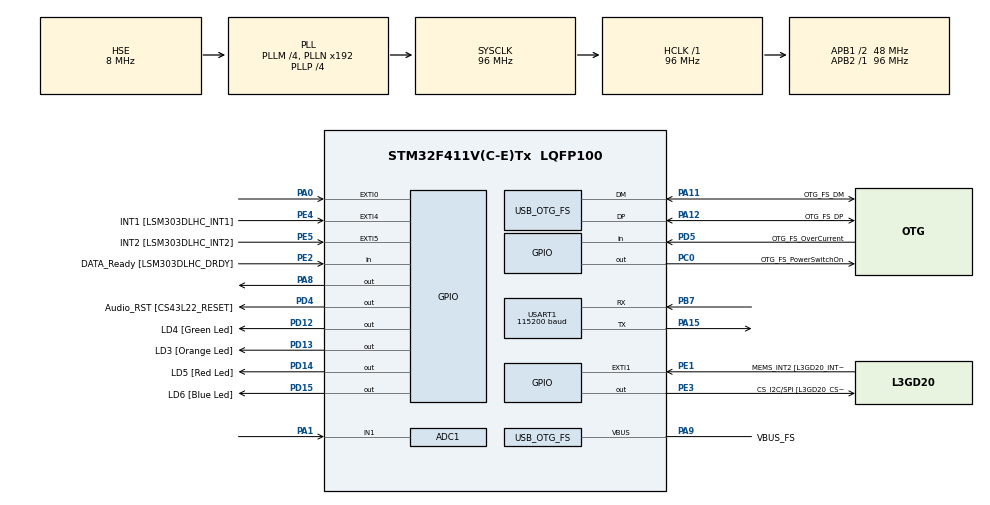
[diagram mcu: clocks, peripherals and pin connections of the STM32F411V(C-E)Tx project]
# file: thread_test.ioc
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ADC1.Channel-1\#ChannelRegularConversion=ADC_CHANNEL_1
ADC1.NbrOfConversionFlag=1
ADC1.Rank-1\#ChannelRegularConversion=1
ADC1.SamplingTime-1\#ChannelRegularConversion=ADC_SAMPLETIME_3CYCLES
ADC1.master=1
FREERTOS.INCLUDE_vTaskDelayUntil=1
FREERTOS.Tasks01=blink01,0,128,StartBlink01,Default,NULL,Dynamic,NULL,NULL;blink02,0,128,StartBlink02,Default,NULL,Dynamic,NULL,NULL
FREERTOS.configCHECK_FOR_STACK_OVERFLOW=2
Mcu.Family=STM32F4
Mcu.Name=STM32F411V(C-E)Tx
Mcu.Package=LQFP100
NVIC.OTG_FS_IRQn=true\:5\:0\:false\:false\:true\:true\:true\:true
NVIC.PriorityGroup=NVIC_PRIORITYGROUP_4
NVIC.TIM1_UP_TIM10_IRQn=true\:0\:0\:false\:false\:true\:false\:false\:true
NVIC.TimeBase=TIM1_UP_TIM10_IRQn
NVIC.TimeBaseIP=TIM10
PA0-WKUP.GPIO_ModeDefaultEXTI=GPIO_MODE_EVT_RISING
PA0-WKUP.Signal=GPXTI0
PA1.Signal=ADCx_IN1
PA10.GPIO_Label=OTG_FS_ID
PA10.Signal=USB_OTG_FS_ID
PA11.GPIO_Label=OTG_FS_DM
PA11.Mode=Host_Only
PA11.Signal=USB_OTG_FS_DM
PA12.GPIO_Label=OTG_FS_DP
PA12.Mode=Host_Only
PA12.Signal=USB_OTG_FS_DP
PA13.GPIO_Label=SWDIO
PA13.Mode=Trace_Asynchronous_SW
PA13.Signal=SYS_JTMS-SWDIO
PA14.GPIO_Label=SWCLK
PA14.Mode=Trace_Asynchronous_SW
PA14.Signal=SYS_JTCK-SWCLK
PA15.Mode=Asynchronous
PA15.Signal=USART1_TX
PA4.GPIO_Label=I2S3_WS [CS43L22_LRCK]
PA4.GPIO_Mode=GPIO_MODE_AF_PP
PA4.GPIO_PuPd=GPIO_NOPULL
PA4.GPIO_Speed=GPIO_SPEED_FREQ_LOW
PA4.Signal=I2S3_WS
PA5.GPIO_Label=SPI1_SCK [L3GD20_SC/SPC]
PA5.Signal=SPI1_SCK
PA6.GPIO_Label=SPI1_MISO [L3GD20_AS0/SDO]
PA6.Signal=SPI1_MISO
PA7.GPIO_Label=SPI1_MOSI [L3GD20_SDA/SDI/SDO]
PA7.Signal=SPI1_MOSI
PA8.Signal=GPIO_Output
PA9.GPIO_Label=VBUS_FS
PA9.Mode=Activate_VBUS
PA9.Signal=USB_OTG_FS_VBUS
PB10.GPIO_Label=CLK_IN [MP45DT02_CLK]
PB10.Signal=I2S2_CK
PB12.Signal=I2S2_WS
PB3.GPIO_Label=SWO
PB3.Mode=Trace_Asynchronous_SW
PB3.Signal=SYS_JTDO-SWO
PB6.GPIO_Label=Audio_SCL [CS43L22_SCL]
PB6.GPIO_Mode=GPIO_MODE_AF_OD
PB6.GPIO_PuPd=GPIO_NOPULL
PB6.GPIO_Speed=GPIO_SPEED_FREQ_LOW
PB6.Signal=I2C1_SCL
PB7.Mode=Asynchronous
PB7.Signal=USART1_RX
PB9.GPIO_Label=Audio_SDA [CS43L22_SDA]
PB9.GPIO_Mode=GPIO_MODE_AF_OD
PB9.GPIO_PuPd=GPIO_NOPULL
PB9.GPIO_Speed=GPIO_SPEED_FREQ_LOW
PB9.Signal=I2C1_SDA
PC0.GPIO_Label=OTG_FS_PowerSwitchOn
PC0.PinState=GPIO_PIN_SET
PC0.Signal=GPIO_Output
PC10.GPIO_Label=I2S3_SCK [CS43L22_SCLK]
PC10.GPIO_Mode=GPIO_MODE_AF_PP
PC10.GPIO_PuPd=GPIO_NOPULL
PC10.GPIO_Speed=GPIO_SPEED_FREQ_LOW
PC10.Signal=I2S3_CK
PC12.GPIO_Label=I2S3_SD [CS43L22_SDIN]
PC12.GPIO_Mode=GPIO_MODE_AF_PP
PC12.GPIO_PuPd=GPIO_NOPULL
PC12.GPIO_Speed=GPIO_SPEED_FREQ_LOW
PC12.Signal=I2S3_SD
PC14-OSC32_IN.GPIO_Label=PC14-OSC32_IN
PC14-OSC32_IN.Mode=LSE-External-Oscillator
PC14-OSC32_IN.Signal=RCC_OSC32_IN
PC15-OSC32_OUT.GPIO_Label=PC15-OSC32_OUT
PC15-OSC32_OUT.Mode=LSE-External-Oscillator
PC15-OSC32_OUT.Signal=RCC_OSC32_OUT
PC3.GPIO_Label=PDM_OUT [MP45DT02_DOUT]
PC3.Signal=I2S2_SD
PC7.GPIO_Label=I2S3_MCK [CS43L22_MCLK]
PC7.GPIO_Mode=GPIO_MODE_AF_PP
PC7.GPIO_PuPd=GPIO_NOPULL
PC7.GPIO_Speed=GPIO_SPEED_FREQ_LOW
PC7.Signal=I2S3_MCK
PD12.GPIO_Label=LD4 [Green Led]
PD12.GPIO_PuPd=GPIO_NOPULL
PD12.GPIO_Speed=GPIO_SPEED_FREQ_LOW
PD12.Signal=GPIO_Output
PD13.GPIO_Label=LD3 [Orange Led]
PD13.GPIO_PuPd=GPIO_NOPULL
PD13.GPIO_Speed=GPIO_SPEED_FREQ_LOW
PD13.Signal=GPIO_Output
PD14.GPIO_Label=LD5 [Red Led]
PD14.GPIO_PuPd=GPIO_NOPULL
PD14.GPIO_Speed=GPIO_SPEED_FREQ_LOW
PD14.Signal=GPIO_Output
PD15.GPIO_Label=LD6 [Blue Led]
PD15.GPIO_PuPd=GPIO_NOPULL
PD15.GPIO_Speed=GPIO_SPEED_FREQ_LOW
PD15.Signal=GPIO_Output
PD4.GPIO_Label=Audio_RST [CS43L22_RESET]
PD4.Signal=GPIO_Output
PD5.GPIO_Label=OTG_FS_OverCurrent
PD5.Signal=GPIO_Input
PE1.GPIO_Label=MEMS_INT2 [L3GD20_INT2]
PE1.GPIO_ModeDefaultEXTI=GPIO_MODE_EVT_RISING
PE1.Signal=GPXTI1
PE2.GPIO_Label=DATA_Ready [LSM303DLHC_DRDY]
PE2.Signal=GPIO_Input
PE3.GPIO_Label=CS_I2C/SPI [L3GD20_CS_I2C/SPI]
PE3.Signal=GPIO_Output
PE4.GPIO_Label=INT1 [LSM303DLHC_INT1]
PE4.GPIO_ModeDefaultEXTI=GPIO_MODE_EVT_RISING
PE4.Signal=GPXTI4
PE5.GPIO_Label=INT2 [LSM303DLHC_INT2]
PE5.GPIO_ModeDefaultEXTI=GPIO_MODE_EVT_RISING
PE5.Signal=GPXTI5
PH0\ -\ OSC_IN.GPIO_Label=PH0-OSC_IN
PH0\ -\ OSC_IN.Mode=HSE-External-Oscillator
PH0\ -\ OSC_IN.Signal=RCC_OSC_IN
PH1\ -\ OSC_OUT.GPIO_Label=PH1-OSC_OUT
PH1\ -\ OSC_OUT.Mode=HSE-External-Oscillator
PH1\ -\ OSC_OUT.Signal=RCC_OSC_OUT
ProjectManager.HeapSize=0x200
ProjectManager.StackSize=0x400
ProjectManager.TargetToolchain=STM32CubeIDE
RCC.48MHZClocksFreq_Value=48000000
RCC.AHBFreq_Value=96000000
RCC.APB1CLKDivider=RCC_HCLK_DIV2
RCC.APB1Freq_Value=48000000
RCC.APB1TimFreq_Value=96000000
RCC.APB2Freq_Value=96000000
RCC.APB2TimFreq_Value=96000000
RCC.CortexFreq_Value=96000000
RCC.HCLKFreq_Value=96000000
RCC.HSE_VALUE=8000000
RCC.HSI_VALUE=16000000
RCC.PLLI2SM=5
RCC.PLLI2SN=200
RCC.PLLM=4
RCC.PLLP=RCC_PLLP_DIV4
RCC.PLLQ=8
RCC.SYSCLKFreq_VALUE=96000000
RCC.SYSCLKSource=RCC_SYSCLKSOURCE_PLLCLK
RCC.VCOOutputFreq_Value=384000000
SH.ADCx_IN1.0=ADC1_IN1,IN1
USART1.BaudRate=115200
USART1.VirtualMode=VM_ASYNC
USB_HOST.BSP.number=1
USB_HOST.USBH_HandleTypeDef=hUsbHostFS
USB_HOST.USBH_USE_OS-CDC_FS=0
USB_HOST.VirtualModeFS=Cdc
USB_HOST0.BSP.STBoard=false
USB_HOST0.BSP.api=Unknown
USB_HOST0.BSP.i2caddr=0
USB_HOST0.BSP.i2creg=0
USB_HOST0.BSP.instance=PC0
USB_HOST0.BSP.ip=GPIO
USB_HOST0.BSP.mode=Output
USB_HOST0.BSP.name=Drive_VBUS_FS
USB_HOST0.BSP.solution=PC0
USB_OTG_FS.VirtualMode=Host_Only
USB_OTG_FS.phy_itface=HCD_PHY_EMBEDDED
VP_FREERTOS_VS_CMSIS_V1.Mode=CMSIS_V1
VP_SYS_VS_tim10.Mode=TIM10
VP_USB_HOST_VS_USB_HOST_CDC_FS.Mode=CDC_FS
board=STM32F411E-DISCO

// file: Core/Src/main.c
/* USER CODE BEGIN Header */
/**
  ******************************************************************************
  * @file           : main.c
  * @brief          : Main program body
  ******************************************************************************
  * @attention
  *
  * <h2><center>&copy; Copyright (c) 2020 STMicroelectronics.
  * All rights reserved.</center></h2>
  *
  * This software component is licensed by ST under Ultimate Liberty license
  * SLA0044, the "License"; You may not use this file except in compliance with
  * the License. You may obtain a copy of the License at:
  *                             www.st.com/SLA0044
  *
  ******************************************************************************
  */
/* USER CODE END Header */

#include "main.h"
#include "cmsis_os.h"
#include "adc.h"
#include "usart.h"
#include "usb_host.h"
#include "gpio.h"

void SystemClock_Config(void);
void MX_FREERTOS_Init(void);

int main(void)
{

  /* MCU Configuration--------------------------------------------------------*/

  /* Reset of all peripherals, Initializes the Flash interface and the Systick. */
  HAL_Init();

  /* Configure the system clock */
  SystemClock_Config();

  /* Initialize all configured peripherals */
  MX_GPIO_Init();
  MX_ADC1_Init();
  MX_USART1_UART_Init();

  /* Call init function for freertos objects (in freertos.c) */
  MX_FREERTOS_Init();
  /* Start scheduler */
  osKernelStart();

  /* We should never get here as control is now taken by the scheduler */
  /* Infinite loop */
  while (1)
  {

  }
}

void SystemClock_Config(void)
{
  RCC_OscInitTypeDef RCC_OscInitStruct = {0};
  RCC_ClkInitTypeDef RCC_ClkInitStruct = {0};

  /** Configure the main internal regulator output voltage
  */
  __HAL_RCC_PWR_CLK_ENABLE();
  __HAL_PWR_VOLTAGESCALING_CONFIG(PWR_REGULATOR_VOLTAGE_SCALE1);
  /** Initializes the CPU, AHB and APB busses clocks
  */
  RCC_OscInitStruct.OscillatorType = RCC_OSCILLATORTYPE_HSE;
  RCC_OscInitStruct.HSEState = RCC_HSE_ON;
  RCC_OscInitStruct.PLL.PLLState = RCC_PLL_ON;
  RCC_OscInitStruct.PLL.PLLSource = RCC_PLLSOURCE_HSE;
  RCC_OscInitStruct.PLL.PLLM = 4;
  RCC_OscInitStruct.PLL.PLLN = 192;
  RCC_OscInitStruct.PLL.PLLP = RCC_PLLP_DIV4;
  RCC_OscInitStruct.PLL.PLLQ = 8;
  if (HAL_RCC_OscConfig(&RCC_OscInitStruct) != HAL_OK)
  {
    Error_Handler();
  }
  /** Initializes the CPU, AHB and APB busses clocks
  */
  RCC_ClkInitStruct.ClockType = RCC_CLOCKTYPE_HCLK|RCC_CLOCKTYPE_SYSCLK
                              |RCC_CLOCKTYPE_PCLK1|RCC_CLOCKTYPE_PCLK2;
  RCC_ClkInitStruct.SYSCLKSource = RCC_SYSCLKSOURCE_PLLCLK;
  RCC_ClkInitStruct.AHBCLKDivider = RCC_SYSCLK_DIV1;
  RCC_ClkInitStruct.APB1CLKDivider = RCC_HCLK_DIV2;
  RCC_ClkInitStruct.APB2CLKDivider = RCC_HCLK_DIV1;

  if (HAL_RCC_ClockConfig(&RCC_ClkInitStruct, FLASH_LATENCY_3) != HAL_OK)
  {
    Error_Handler();
  }
}

 /**
  * @brief  Period elapsed callback in non blocking mode
  * @note   This function is called  when TIM10 interrupt took place, inside
  * HAL_TIM_IRQHandler(). It makes a direct call to HAL_IncTick() to increment
  * a global variable "uwTick" used as application time base.
  * @param  htim : TIM handle
  * @retval None
  */
void HAL_TIM_PeriodElapsedCallback(TIM_HandleTypeDef *htim)
{
  if (htim->Instance == TIM10) {
    HAL_IncTick();
  }
}

void Error_Handler(void)
{
}

/************************ (C) COPYRIGHT STMicroelectronics *****END OF FILE****/

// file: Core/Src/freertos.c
/* USER CODE BEGIN Header */
/**
  ******************************************************************************
  * File Name          : freertos.c
  * Description        : Code for freertos applications
  ******************************************************************************
  * @attention
  *
  * <h2><center>&copy; Copyright (c) 2020 STMicroelectronics.
  * All rights reserved.</center></h2>
  *
  * This software component is licensed by ST under Ultimate Liberty license
  * SLA0044, the "License"; You may not use this file except in compliance with
  * the License. You may obtain a copy of the License at:
  *                             www.st.com/SLA0044
  *
  ******************************************************************************
  */
/* USER CODE END Header */

#include "FreeRTOS.h"
#include "task.h"
#include "main.h"
#include "cmsis_os.h"

/* USER CODE BEGIN Includes */
#include <string.h>
#include <stdio.h>
#include <stdlib.h>
#include <time.h>
#include "wr_czas.h"
/* USER CODE END Includes */

/* USER CODE BEGIN Variables */
ADC_HandleTypeDef hadc1;
UART_HandleTypeDef huart1;

/* USER CODE END Variables */
osThreadId blink01Handle;
osThreadId blink02Handle;

void StartBlink01(void const * argument);
void StartBlink02(void const * argument);

extern void MX_USB_HOST_Init(void);
void MX_FREERTOS_Init(void); /* (MISRA C 2004 rule 8.1) */

/* GetIdleTaskMemory prototype (linked to static allocation support) */
void vApplicationGetIdleTaskMemory( StaticTask_t **ppxIdleTaskTCBBuffer, StackType_t **ppxIdleTaskStackBuffer, uint32_t *pulIdleTaskStackSize );

/* Hook prototypes */
void vApplicationStackOverflowHook(xTaskHandle xTask, signed char *pcTaskName);

/* USER CODE BEGIN 4 */
__weak void vApplicationStackOverflowHook(xTaskHandle xTask, signed char *pcTaskName)
{
   /* Run time stack overflow checking is performed if
   configCHECK_FOR_STACK_OVERFLOW is defined to 1 or 2. This hook function is
   called if a stack overflow is detected. */
}
/* USER CODE END 4 */

/* USER CODE BEGIN GET_IDLE_TASK_MEMORY */
static StaticTask_t xIdleTaskTCBBuffer;
static StackType_t xIdleStack[configMINIMAL_STACK_SIZE];

void vApplicationGetIdleTaskMemory( StaticTask_t **ppxIdleTaskTCBBuffer, StackType_t **ppxIdleTaskStackBuffer, uint32_t *pulIdleTaskStackSize )
{
  *ppxIdleTaskTCBBuffer = &xIdleTaskTCBBuffer;
  *ppxIdleTaskStackBuffer = &xIdleStack[0];
  *pulIdleTaskStackSize = configMINIMAL_STACK_SIZE;
  /* place for user code */
}
/* USER CODE END GET_IDLE_TASK_MEMORY */

void MX_FREERTOS_Init(void) {

  /* Create the thread(s) */
  /* definition and creation of blink01 */
  osThreadDef(blink01, StartBlink01, osPriorityNormal, 0, 128);
  blink01Handle = osThreadCreate(osThread(blink01), NULL);

  /* definition and creation of blink02 */
  osThreadDef(blink02, StartBlink02, osPriorityNormal, 0, 128);
  blink02Handle = osThreadCreate(osThread(blink02), NULL);

}

void StartBlink01(void const * argument)
{
  /* init code for USB_HOST */
  MX_USB_HOST_Init();

  struct timespec ts;
  /* USER CODE BEGIN StartBlink01 */
  /* Infinite loop */
  for(;;)
  {
	srand(time(0));
	int num = (rand() % (10000 - 100 + 1)) + 100;
	HAL_GPIO_TogglePin(GPIOD,GPIO_PIN_12);

	wr_czas_us time = czas_aktualny();
    wr_czas_do_ts(&ts, time);
    wr_czas_us timeChanged = ts_do_wr_czas(&ts);

    printf("startBlink01: time=%lld , timeChanged=%lld\n", time, timeChanged);

	osDelay(num);
  }
  osThreadTerminate(NULL);
  /* USER CODE END StartBlink01 */
}

void StartBlink02(void const * argument)
{
  /* USER CODE BEGIN StartBlink02 */
  /* Infinite loop */
  for(;;)
  {
	srand(time(0));
	int num = (rand() % (1000 - 100 + 1)) + 100;
    wr_czas_us timeMeasured = czas_aktualny();
	HAL_GPIO_TogglePin(GPIOD,GPIO_PIN_13);
	osDelay(num);

    int32_t diff = roznica_czasu(&timeMeasured);
    printf("startBlink02: timeMeasured=%llu, delay=%d, difference=%ld\n", timeMeasured, num, diff);
	HAL_GPIO_TogglePin(GPIOD,GPIO_PIN_13);
	osDelay(10);
  }
  osThreadTerminate(NULL);
  /* USER CODE END StartBlink02 */
}

/* USER CODE BEGIN Application */
int _write(int file, char *ptr, int len) {
  /* Implement your write code here, this is used by puts and printf for example */
  for(int i=0 ; i<len ; i++)
    ITM_SendChar((*ptr++));
  return len;
}

/* USER CODE END Application */

/************************ (C) COPYRIGHT STMicroelectronics *****END OF FILE****/
